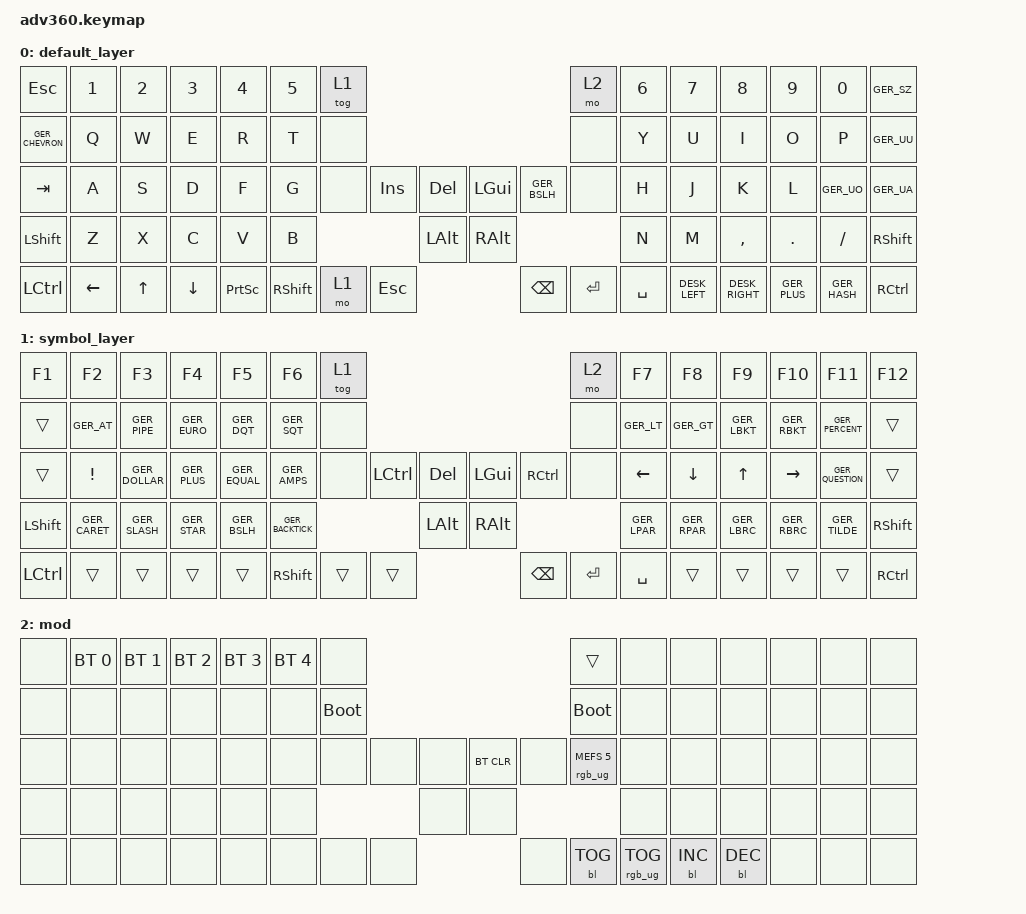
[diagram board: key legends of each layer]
#include <behaviors.dtsi>
#include <dt-bindings/zmk/keys.h>
#include <dt-bindings/zmk/bt.h>
#include <dt-bindings/zmk/rgb.h>
#include <dt-bindings/zmk/backlight.h>

#define GER_COPY (LC(C)) 
#define GER_PASTE (LC(V)) 
#define GER_UNDO (LC(Y)) 
#define GER_REDO (LC(Z)) 
#define GER_CUT (LC(X)) 

#define WORD_LEFT (LC(LEFT)) 
#define WORD_RIGHT (LC(RIGHT)) 
#define DESK_LEFT (LG(LC(LEFT))) 
#define DESK_RIGHT (LG(LC(RIGHT))) 

/* German ä */
#define GER_UA (SINGLE_QUOTE)
 
/* German ü */
#define GER_UU (LEFT_BRACKET)

/* German ß */
#define GER_SZ (MINUS)

/* German ö */
#define GER_UO (SEMICOLON)

/* German ' */
#define GER_SQT (LS(ZMK_HID_USAGE(HID_USAGE_KEY, HID_USAGE_KEY_KEYBOARD_BACKSLASH_AND_PIPE)))

/* German < */
#define GER_LT (ZMK_HID_USAGE(HID_USAGE_KEY, HID_USAGE_KEY_KEYBOARD_NON_US_BACKSLASH_AND_PIPE))

/* German > */
#define GER_GT (LS(ZMK_HID_USAGE(HID_USAGE_KEY, HID_USAGE_KEY_KEYBOARD_NON_US_BACKSLASH_AND_PIPE)))

/* German " */
#define GER_DQT (AT)

/* German § */
#define GER_PARA (HASH)

/* German € */
#define GER_EURO (RA(ZMK_HID_USAGE(HID_USAGE_KEY, HID_USAGE_KEY_KEYBOARD_E)))

/* German & */
#define GER_AMPS (CARET)

/* German [ */
#define GER_LBKT (RA(ZMK_HID_USAGE(HID_USAGE_KEY, HID_USAGE_KEY_KEYBOARD_8_AND_ASTERISK)))

/* German ] */
#define GER_RBKT (RA(ZMK_HID_USAGE(HID_USAGE_KEY, HID_USAGE_KEY_KEYBOARD_9_AND_LEFT_PARENTHESIS)))

/* German ( */
#define GER_LPAR (LS(ZMK_HID_USAGE(HID_USAGE_KEY, HID_USAGE_KEY_KEYBOARD_8_AND_ASTERISK))) 

/* German ) */
#define GER_RPAR (LS(ZMK_HID_USAGE(HID_USAGE_KEY, HID_USAGE_KEY_KEYBOARD_9_AND_LEFT_PARENTHESIS))) 

/* German { */
#define GER_LBRC (RA(ZMK_HID_USAGE(HID_USAGE_KEY, HID_USAGE_KEY_KEYBOARD_7_AND_AMPERSAND)))

/* German } */
#define GER_RBRC (RA(ZMK_HID_USAGE(HID_USAGE_KEY, HID_USAGE_KEY_KEYBOARD_0_AND_RIGHT_PARENTHESIS)))

/* German % */
#define GER_PERCENT (PERCENT) 

/* German - */
#define GER_MINUS (SLASH)

// German + */
#define GER_PLUS (RBKT)

// German + */
#define GER_CTRL_PLUS (LC(RBKT))

/* German = */
#define GER_EQUAL (LS(ZMK_HID_USAGE(HID_USAGE_KEY, HID_USAGE_KEY_KEYBOARD_0_AND_RIGHT_PARENTHESIS)))

/* German # */
#define GER_HASH (BSLH)

/* German | */
#define GER_PIPE (RA(ZMK_HID_USAGE(HID_USAGE_KEY, HID_USAGE_KEY_KEYBOARD_NON_US_BACKSLASH_AND_PIPE)))

/* German : */
#define GER_COLON (GT)

/* German ? */
#define GER_QUESTION (UNDERSCORE) 

/* German ~ */
#define GER_TILDE (RA(ZMK_HID_USAGE(HID_USAGE_KEY, HID_USAGE_KEY_KEYBOARD_RIGHT_BRACKET_AND_RIGHT_BRACE)))

/* German $ */
#define GER_DOLLAR (DOLLAR) 

/* German @ */
#define GER_AT (RA(ZMK_HID_USAGE(HID_USAGE_KEY, HID_USAGE_KEY_KEYBOARD_Q)))

/* German / */
#define GER_SLASH (AMPERSAND)

/* German * (star) */
#define GER_STAR (RBRC)

/* German \ */
#define GER_BSLH (RA(ZMK_HID_USAGE(HID_USAGE_KEY, HID_USAGE_KEY_KEYBOARD_MINUS_AND_UNDERSCORE)))

/* German ^ */ 
#define GER_CHEVRON (GRAVE)

/ {
    behaviors {
      #include "macros.dtsi"

      // Macro for Caret (^) dead key
      GER_CARET: GER_CARET {
        label = "GER_CARET";
        #binding-cells = <0>;
        compatible = "zmk,behavior-macro";
        wait-ms = <100>;
        tap-ms = <5>;
        bindings = <&kp GRAVE &kp SPACE>;
      };

      // Macro for Backtick (`) dead key
      GER_BACKTICK: GER_BACKTICK {
        label = "GER_BACKTICK";
        #binding-cells = <0>;
        compatible = "zmk,behavior-macro";
        wait-ms = <100>;
        tap-ms = <5>;
        bindings = <&kp PLUS &kp SPACE>;
      };

      hm: homerow_mods {
          compatible = "zmk,behavior-hold-tap";
          label = "HOMEROW_MODS";
          #binding-cells = <2>;
          tapping-term-ms = <200>;
          quick_tap_ms = <175>;
          flavor = "tap-preferred";
          bindings = <&kp>, <&kp>;
      };
    };

  keymap {
    compatible = "zmk,keymap";

    default_layer {
      bindings = <
        &kp ESC         &kp N1       &kp N2      &kp N3       &kp N4         &kp N5 &tog 1                                                                             &mo 2 &kp N6 &kp N7        &kp N8          &kp N9       &kp N0       &kp GER_SZ
        &kp GER_CHEVRON &kp Q        &kp W       &kp E        &kp R          &kp T  &none                                                                              &none &kp Y  &kp U         &kp I           &kp O        &kp P        &kp GER_UU
        &kp TAB         &kp A        &kp S       &kp D        &kp F          &kp G  &none          &kp INSERT &kp DEL      &kp LGUI   &kp GER_BSLH                     &none &kp H  &kp J         &kp K           &kp L        &kp GER_UO   &kp GER_UA
        &kp LSHFT       &kp Z        &kp X       &kp C        &kp V          &kp B                            &kp LALT     &kp RALT                                          &kp N  &kp M         &kp COMMA       &kp DOT      &kp FSLH     &kp RSHFT
        &kp LCTRL       &kp LEFT     &kp UP      &kp DOWN     &kp PRINTSCREEN                 &kp RSHFT &mo 1 &kp ESC      &kp BSPC   &kp RETURN &kp SPACE                          &kp DESK_LEFT &kp DESK_RIGHT  &kp GER_PLUS &kp GER_HASH &kp RCTRL
      >;
    };
    symbol_layer {
      bindings = <
        &kp F1     &kp F2          &kp F3         &kp F4       &kp F5        &kp F6        &tog 1                                                              &mo 2  &kp F7        &kp F8         &kp F9          &kp F10       &kp F11          &kp F12
        &trans     &kp GER_AT      &kp GER_PIPE   &kp GER_EURO &kp GER_DQT   &kp GER_SQT   &none                                                               &none  &kp GER_LT    &kp GER_GT     &kp GER_LBKT    &kp GER_RBKT  &kp GER_PERCENT  &trans
        &trans     &kp EXCLAMATION &kp GER_DOLLAR &kp GER_PLUS &kp GER_EQUAL &kp GER_AMPS  &none        &kp LCTRL &kp DEL  &kp LGUI  &kp RCTRL                 &none  &kp LEFT      &kp DOWN       &kp UP          &kp RIGHT     &kp GER_QUESTION &trans
        &kp LSHIFT &GER_CARET      &kp GER_SLASH  &kp GER_STAR &kp GER_BSLH  &GER_BACKTICK                        &kp LALT &kp RALT                                   &kp GER_LPAR  &kp GER_RPAR   &kp GER_LBRC    &kp GER_RBRC  &kp GER_TILDE    &kp RSHIFT
        &kp LCTRL  &trans          &trans         &trans       &trans                          &kp RSHFT &trans   &trans   &kp BSPC  &kp RETURN &kp SPACE                           &trans         &trans          &trans        &trans           &kp RCTRL
      >;
    };
    mod {
      bindings = <
        &none &bt BT_SEL 0 &bt BT_SEL 1 &bt BT_SEL 2 &bt BT_SEL 3 &bt BT_SEL 4 &none                                                                     &trans                 &none        &none        &none        &none &none &none
        &none &none        &none        &none        &none        &none        &bootloader                                                               &bootloader            &none        &none        &none        &none &none &none
        &none &none        &none        &none        &none        &none        &none                   &none &none &bt BT_CLR &none                      &rgb_ug RGB_MEFS_CMD 5 &none        &none        &none        &none &none &none
        &none &none        &none        &none        &none        &none                                      &none &none                                                        &none        &none        &none        &none &none &none
        &none &none        &none        &none        &none                                       &none &none &none &none      &bl BL_TOG &rgb_ug RGB_TOG                                     &bl BL_INC   &bl BL_DEC   &none &none &none
      >;
    };
  };
};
